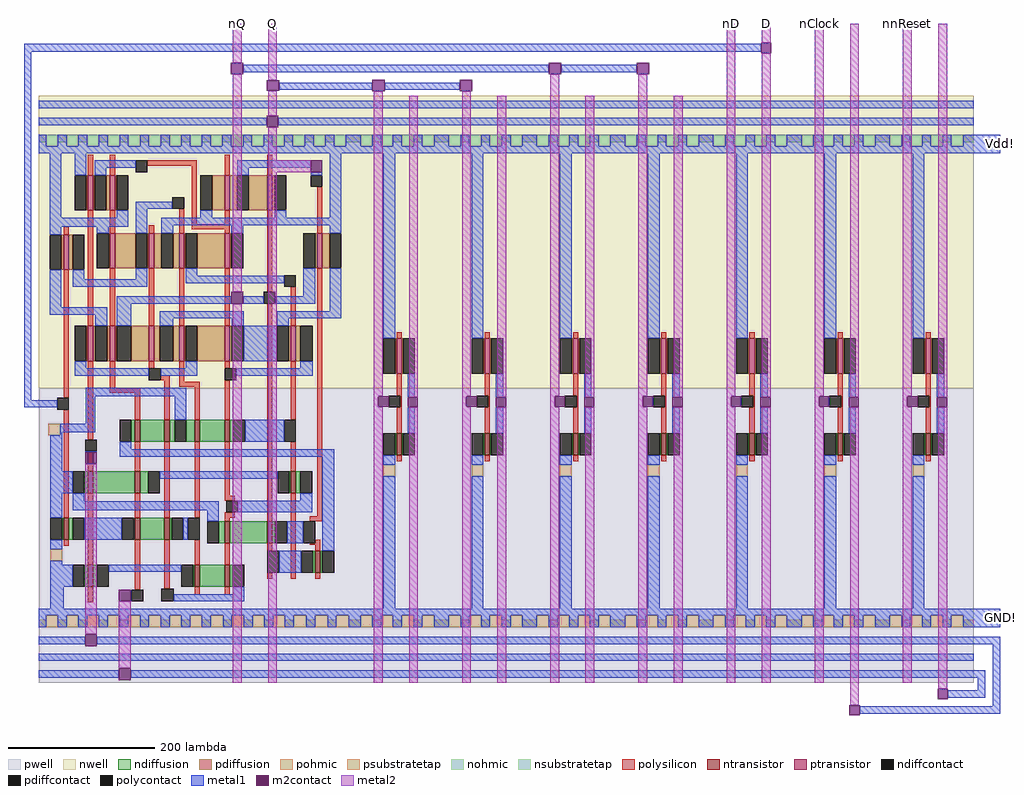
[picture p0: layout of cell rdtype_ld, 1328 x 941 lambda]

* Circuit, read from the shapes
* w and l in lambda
.subckt rdtype_ld Clock D GND! Q Vdd! nClock nD nQ nReset nnReset
M1 n1 D n2 VSUBS nfet w=30 l=7
M2 n3 Clock GND! VSUBS nfet w=30 l=7
M3 n4 Clock n2 VSUBS nfet w=30 l=7
M4 n5 nReset n1 VSUBS nfet w=30 l=7
M5 n6 nReset n4 VSUBS nfet w=30 l=7
M6 n7 nReset n8 VSUBS nfet w=30 l=7
M7 n9 n10 n5 VSUBS nfet w=30 l=7
M8 n2 n10 n7 VSUBS nfet w=30 l=7
M9 n11 n9 n3 VSUBS nfet w=30 l=7
M10 n12 n9 n2 VSUBS nfet w=30 l=7
M11 n10 n13 n11 VSUBS nfet w=30 l=7
M12 n14 n13 n2 VSUBS nfet w=30 l=7
M13 n15 n13 n12 VSUBS nfet w=30 l=7
M14 Q nQ n14 VSUBS nfet w=30 l=7
M15 n13 n15 n6 VSUBS nfet w=30 l=7
M16 n8 Q nQ VSUBS nfet w=30 l=7
M17 n16 Q n17 VSUBS nfet w=30 l=7
M18 n18 Q n19 VSUBS nfet w=30 l=7
M19 n20 nQ n21 VSUBS nfet w=30 l=7
M20 n22 nQ n23 VSUBS nfet w=30 l=7
M21 D nD n24 VSUBS nfet w=30 l=7
M22 Clock nClock n25 VSUBS nfet w=30 l=7
M23 nReset nnReset n26 VSUBS nfet w=30 l=7
M24 n9 D Vdd! n27 pfet w=48 l=7
M25 Vdd! Clock n10 n27 pfet w=48 l=7
M26 n13 Clock Vdd! n27 pfet w=48 l=7
M27 nQ nReset Vdd! n27 pfet w=48 l=7
M28 n9 nReset Vdd! n27 pfet w=48 l=7
M29 Vdd! nReset n13 n27 pfet w=48 l=7
M30 Vdd! n10 nQ n27 pfet w=48 l=7
M31 Vdd! n10 n9 n27 pfet w=48 l=7
M32 n10 n9 Vdd! n27 pfet w=48 l=7
M33 n15 n9 Vdd! n27 pfet w=48 l=7
M34 Vdd! n13 n10 n27 pfet w=48 l=7
M35 Vdd! n13 n15 n27 pfet w=48 l=7
M36 Q n13 Vdd! n27 pfet w=48 l=7
M37 Vdd! nQ Q n27 pfet w=48 l=7
M38 n13 n15 Vdd! n27 pfet w=48 l=7
M39 Vdd! Q nQ n27 pfet w=48 l=7
M40 n16 Q Vdd! n27 pfet w=48 l=7
M41 n18 Q Vdd! n27 pfet w=48 l=7
M42 n20 nQ Vdd! n27 pfet w=48 l=7
M43 n22 nQ Vdd! n27 pfet w=48 l=7
M44 D nD Vdd! n27 pfet w=48 l=7
M45 Clock nClock Vdd! n27 pfet w=48 l=7
M46 nReset nnReset Vdd! n27 pfet w=48 l=7
.ends

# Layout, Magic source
magic
tech c035u
<< nwell >>
rect 20 445 1292 843
<< pwell >>
rect 20 44 1292 445
<< polysilicon >>
rect 87 735 94 763
rect 117 735 124 763
rect 168 748 235 755
rect 54 654 61 665
rect 54 432 61 606
rect 87 530 94 687
rect 117 656 124 687
rect 170 656 177 667
rect 211 656 218 689
rect 228 668 235 748
rect 273 735 280 763
rect 331 735 338 763
rect 273 668 280 687
rect 228 661 280 668
rect 273 656 280 661
rect 117 530 124 608
rect 170 530 177 608
rect 211 530 218 608
rect 273 530 280 608
rect 331 576 338 687
rect 399 656 406 719
rect 54 269 61 416
rect 87 375 94 482
rect 117 446 124 482
rect 170 472 177 482
rect 186 456 198 463
rect 117 439 158 446
rect 151 402 158 439
rect 191 402 198 456
rect 211 454 218 482
rect 273 472 280 482
rect 211 447 239 454
rect 232 402 239 447
rect 273 402 280 456
rect 87 332 94 359
rect 151 332 158 372
rect 54 231 61 239
rect 87 205 94 302
rect 151 269 158 302
rect 191 269 198 372
rect 232 269 239 372
rect 273 299 280 372
rect 273 292 287 299
rect 273 269 287 276
rect 273 264 280 269
rect 331 264 338 560
rect 363 530 370 583
rect 363 402 370 482
rect 363 332 370 372
rect 87 154 94 175
rect 151 171 158 239
rect 191 172 198 239
rect 232 205 239 239
rect 273 205 280 234
rect 331 224 338 234
rect 331 186 338 194
rect 363 186 370 302
rect 399 271 406 608
rect 507 513 514 521
rect 627 513 634 521
rect 747 513 754 521
rect 867 513 874 521
rect 987 513 994 521
rect 1107 513 1114 521
rect 1227 513 1234 521
rect 507 435 514 465
rect 627 435 634 465
rect 747 435 754 465
rect 867 435 874 465
rect 987 435 994 465
rect 1107 435 1114 465
rect 1227 435 1234 465
rect 512 419 514 435
rect 632 419 634 435
rect 752 419 754 435
rect 872 419 874 435
rect 992 419 994 435
rect 1112 419 1114 435
rect 1232 419 1234 435
rect 507 384 514 419
rect 627 384 634 419
rect 747 384 754 419
rect 867 384 874 419
rect 987 384 994 419
rect 1107 384 1114 419
rect 1227 384 1234 419
rect 507 346 514 354
rect 627 346 634 354
rect 747 346 754 354
rect 867 346 874 354
rect 987 346 994 354
rect 1107 346 1114 354
rect 1227 346 1234 354
rect 389 264 406 271
rect 396 234 403 239
rect 389 232 403 234
rect 396 224 403 232
rect 396 186 403 194
rect 232 164 239 175
rect 273 164 280 175
<< ndiffusion >>
rect 146 372 151 402
rect 158 372 191 402
rect 198 372 205 402
rect 221 372 232 402
rect 239 372 273 402
rect 280 372 285 402
rect 82 302 87 332
rect 94 302 151 332
rect 158 302 169 332
rect 52 239 54 269
rect 61 239 66 269
rect 149 239 151 269
rect 158 239 191 269
rect 198 239 201 269
rect 361 302 363 332
rect 370 302 376 332
rect 82 175 87 205
rect 94 175 99 205
rect 265 234 273 264
rect 280 234 331 264
rect 338 234 342 264
rect 230 175 232 205
rect 239 175 273 205
rect 280 175 284 205
rect 505 354 507 384
rect 514 354 516 384
rect 625 354 627 384
rect 634 354 636 384
rect 745 354 747 384
rect 754 354 756 384
rect 865 354 867 384
rect 874 354 876 384
rect 985 354 987 384
rect 994 354 996 384
rect 1105 354 1107 384
rect 1114 354 1116 384
rect 1225 354 1227 384
rect 1234 354 1236 384
rect 393 194 396 224
rect 403 194 406 224
<< pdiffusion >>
rect 85 687 87 735
rect 94 687 96 735
rect 112 687 117 735
rect 124 687 126 735
rect 51 606 54 654
rect 61 606 66 654
rect 256 687 273 735
rect 280 687 290 735
rect 306 687 331 735
rect 338 687 341 735
rect 115 608 117 656
rect 124 608 152 656
rect 168 608 170 656
rect 177 608 187 656
rect 203 608 211 656
rect 218 608 220 656
rect 236 608 273 656
rect 280 608 282 656
rect 396 608 399 656
rect 406 608 416 656
rect 85 482 87 530
rect 94 482 97 530
rect 113 482 117 530
rect 124 482 126 530
rect 146 482 170 530
rect 177 482 185 530
rect 203 482 211 530
rect 218 482 220 530
rect 236 482 273 530
rect 280 482 283 530
rect 360 482 363 530
rect 370 482 376 530
rect 505 465 507 513
rect 514 465 516 513
rect 625 465 627 513
rect 634 465 636 513
rect 745 465 747 513
rect 754 465 756 513
rect 865 465 867 513
rect 874 465 876 513
rect 985 465 987 513
rect 994 465 996 513
rect 1105 465 1107 513
rect 1114 465 1116 513
rect 1225 465 1227 513
rect 1234 465 1236 513
<< pohmic >>
rect 20 120 30 130
rect 46 120 58 130
rect 74 120 86 130
rect 102 120 114 130
rect 130 120 142 130
rect 158 120 170 130
rect 186 120 198 130
rect 214 120 226 130
rect 242 120 254 130
rect 271 120 283 130
rect 299 120 311 130
rect 327 120 339 130
rect 355 120 367 130
rect 384 120 396 130
rect 413 120 425 130
rect 442 120 458 130
rect 474 120 486 130
rect 502 120 514 130
rect 530 120 542 130
rect 558 120 578 130
rect 594 120 606 130
rect 622 120 634 130
rect 650 120 662 130
rect 678 120 698 130
rect 714 120 726 130
rect 742 120 754 130
rect 770 120 782 130
rect 798 120 818 130
rect 834 120 846 130
rect 862 120 874 130
rect 890 120 902 130
rect 918 120 938 130
rect 954 120 966 130
rect 982 120 994 130
rect 1010 120 1022 130
rect 1038 120 1058 130
rect 1074 120 1086 130
rect 1102 120 1114 130
rect 1130 120 1142 130
rect 1158 120 1178 130
rect 1194 120 1206 130
rect 1222 120 1234 130
rect 1250 120 1262 130
rect 1278 120 1292 130
<< nohmic >>
rect 20 780 30 790
rect 46 780 58 790
rect 74 780 86 790
rect 102 780 114 790
rect 130 780 142 790
rect 158 780 170 790
rect 186 780 198 790
rect 214 780 226 790
rect 242 780 254 790
rect 270 780 282 790
rect 298 780 310 790
rect 326 780 338 790
rect 354 780 366 790
rect 382 780 394 790
rect 410 780 422 790
rect 438 780 458 790
rect 474 780 486 790
rect 502 780 514 790
rect 530 780 542 790
rect 558 780 578 790
rect 594 780 606 790
rect 622 780 634 790
rect 650 780 662 790
rect 678 780 698 790
rect 714 780 726 790
rect 742 780 754 790
rect 770 780 782 790
rect 798 780 818 790
rect 834 780 846 790
rect 862 780 874 790
rect 890 780 902 790
rect 918 780 938 790
rect 954 780 966 790
rect 982 780 994 790
rect 1010 780 1022 790
rect 1038 780 1058 790
rect 1074 780 1086 790
rect 1102 780 1114 790
rect 1130 780 1142 790
rect 1158 780 1178 790
rect 1194 780 1206 790
rect 1222 780 1234 790
rect 1250 780 1262 790
rect 1278 780 1292 790
<< ntransistor >>
rect 151 372 158 402
rect 191 372 198 402
rect 232 372 239 402
rect 273 372 280 402
rect 87 302 94 332
rect 151 302 158 332
rect 54 239 61 269
rect 151 239 158 269
rect 191 239 198 269
rect 363 302 370 332
rect 87 175 94 205
rect 273 234 280 264
rect 331 234 338 264
rect 232 175 239 205
rect 273 175 280 205
rect 507 354 514 384
rect 627 354 634 384
rect 747 354 754 384
rect 867 354 874 384
rect 987 354 994 384
rect 1107 354 1114 384
rect 1227 354 1234 384
rect 396 194 403 224
<< ptransistor >>
rect 87 687 94 735
rect 117 687 124 735
rect 54 606 61 654
rect 273 687 280 735
rect 331 687 338 735
rect 117 608 124 656
rect 170 608 177 656
rect 211 608 218 656
rect 273 608 280 656
rect 399 608 406 656
rect 87 482 94 530
rect 117 482 124 530
rect 170 482 177 530
rect 211 482 218 530
rect 273 482 280 530
rect 363 482 370 530
rect 507 465 514 513
rect 627 465 634 513
rect 747 465 754 513
rect 867 465 874 513
rect 987 465 994 513
rect 1107 465 1114 513
rect 1227 465 1234 513
<< polycontact >>
rect 152 739 168 755
rect 202 689 218 705
rect 390 719 406 735
rect 354 583 370 599
rect 326 560 342 576
rect 45 416 61 432
rect 170 456 186 472
rect 273 456 289 472
rect 83 359 99 375
rect 275 276 291 292
rect 223 239 239 269
rect 354 372 370 402
rect 331 194 347 224
rect 496 419 512 435
rect 616 419 632 435
rect 736 419 752 435
rect 856 419 872 435
rect 976 419 992 435
rect 1096 419 1112 435
rect 1216 419 1232 435
rect 380 234 396 264
rect 146 155 162 171
rect 187 155 204 172
<< ndiffcontact >>
rect 130 372 146 402
rect 205 372 221 402
rect 285 372 301 402
rect 66 302 82 332
rect 169 302 185 332
rect 36 239 52 269
rect 66 239 82 269
rect 133 239 149 269
rect 201 239 217 269
rect 345 302 361 332
rect 376 302 392 332
rect 66 175 82 205
rect 99 175 115 205
rect 249 234 265 264
rect 342 234 358 264
rect 214 175 230 205
rect 284 175 300 205
rect 489 354 505 384
rect 516 354 532 384
rect 609 354 625 384
rect 636 354 652 384
rect 729 354 745 384
rect 756 354 772 384
rect 849 354 865 384
rect 876 354 892 384
rect 969 354 985 384
rect 996 354 1012 384
rect 1089 354 1105 384
rect 1116 354 1132 384
rect 1209 354 1225 384
rect 1236 354 1252 384
rect 377 194 393 224
rect 406 194 422 224
<< pdiffcontact >>
rect 69 687 85 735
rect 96 687 112 735
rect 126 687 142 735
rect 35 606 51 654
rect 66 606 82 654
rect 240 687 256 735
rect 290 687 306 735
rect 341 687 357 735
rect 99 608 115 656
rect 152 608 168 656
rect 187 608 203 656
rect 220 608 236 656
rect 282 608 298 656
rect 380 608 396 656
rect 416 608 432 656
rect 69 482 85 530
rect 97 482 113 530
rect 126 482 146 530
rect 185 482 203 530
rect 220 482 236 530
rect 283 482 299 530
rect 344 482 360 530
rect 376 482 393 530
rect 489 465 505 513
rect 516 465 532 513
rect 609 465 625 513
rect 636 465 652 513
rect 729 465 745 513
rect 756 465 772 513
rect 849 465 865 513
rect 876 465 892 513
rect 969 465 985 513
rect 996 465 1012 513
rect 1089 465 1105 513
rect 1116 465 1132 513
rect 1209 465 1225 513
rect 1236 465 1252 513
<< psubstratetap >>
rect 33 381 49 397
rect 36 210 52 226
rect 489 325 505 341
rect 609 325 625 341
rect 729 325 745 341
rect 849 325 865 341
rect 969 325 985 341
rect 1089 325 1105 341
rect 1209 325 1225 341
rect 30 120 46 136
rect 58 120 74 136
rect 86 120 102 136
rect 114 120 130 136
rect 142 120 158 136
rect 170 120 186 136
rect 198 120 214 136
rect 226 120 242 136
rect 254 120 271 136
rect 283 120 299 136
rect 311 120 327 136
rect 339 120 355 136
rect 367 120 384 136
rect 396 120 413 136
rect 425 120 442 136
rect 458 120 474 136
rect 486 120 502 136
rect 514 120 530 136
rect 542 120 558 136
rect 578 120 594 136
rect 606 120 622 136
rect 634 120 650 136
rect 662 120 678 136
rect 698 120 714 136
rect 726 120 742 136
rect 754 120 770 136
rect 782 120 798 136
rect 818 120 834 136
rect 846 120 862 136
rect 874 120 890 136
rect 902 120 918 136
rect 938 120 954 136
rect 966 120 982 136
rect 994 120 1010 136
rect 1022 120 1038 136
rect 1058 120 1074 136
rect 1086 120 1102 136
rect 1114 120 1130 136
rect 1142 120 1158 136
rect 1178 120 1194 136
rect 1206 120 1222 136
rect 1234 120 1250 136
rect 1262 120 1278 136
<< nsubstratetap >>
rect 30 774 46 790
rect 58 774 74 790
rect 86 774 102 790
rect 114 774 130 790
rect 142 774 158 790
rect 170 774 186 790
rect 198 774 214 790
rect 226 774 242 790
rect 254 774 270 790
rect 282 774 298 790
rect 310 774 326 790
rect 338 774 354 790
rect 366 774 382 790
rect 394 774 410 790
rect 422 774 438 790
rect 458 774 474 790
rect 486 774 502 790
rect 514 774 530 790
rect 542 774 558 790
rect 578 774 594 790
rect 606 774 622 790
rect 634 774 650 790
rect 662 774 678 790
rect 698 774 714 790
rect 726 774 742 790
rect 754 774 770 790
rect 782 774 798 790
rect 818 774 834 790
rect 846 774 862 790
rect 874 774 890 790
rect 902 774 918 790
rect 938 774 954 790
rect 966 774 982 790
rect 994 774 1010 790
rect 1022 774 1038 790
rect 1058 774 1074 790
rect 1086 774 1102 790
rect 1114 774 1130 790
rect 1142 774 1158 790
rect 1178 774 1194 790
rect 1206 774 1222 790
rect 1234 774 1250 790
rect 1262 774 1278 790
<< metal1 >>
rect 0 903 1003 914
rect 0 429 10 903
rect 298 875 714 885
rect 731 875 834 885
rect 347 851 474 861
rect 491 851 593 861
rect 20 826 1292 836
rect 20 803 330 813
rect 346 803 1292 813
rect 20 774 30 790
rect 46 774 58 790
rect 74 774 86 790
rect 102 774 114 790
rect 130 774 142 790
rect 158 774 170 790
rect 186 774 198 790
rect 214 774 226 790
rect 242 774 254 790
rect 270 774 282 790
rect 298 774 310 790
rect 326 774 338 790
rect 354 774 366 790
rect 382 774 394 790
rect 410 774 422 790
rect 438 774 458 790
rect 474 774 486 790
rect 502 774 514 790
rect 530 774 542 790
rect 558 774 578 790
rect 594 774 606 790
rect 622 774 634 790
rect 650 774 662 790
rect 678 774 698 790
rect 714 774 726 790
rect 742 774 754 790
rect 770 774 782 790
rect 798 774 818 790
rect 834 774 846 790
rect 862 774 874 790
rect 890 774 902 790
rect 918 774 938 790
rect 954 774 966 790
rect 982 774 994 790
rect 1010 774 1022 790
rect 1038 774 1058 790
rect 1074 774 1086 790
rect 1102 774 1114 790
rect 1130 774 1142 790
rect 1158 774 1178 790
rect 1194 774 1206 790
rect 1222 774 1234 790
rect 1250 774 1262 790
rect 1278 774 1328 790
rect 20 765 1328 774
rect 35 678 51 765
rect 69 735 85 765
rect 96 745 152 755
rect 96 735 112 745
rect 290 745 390 755
rect 290 735 306 745
rect 390 735 406 739
rect 35 677 52 678
rect 126 677 142 687
rect 35 665 142 677
rect 152 689 202 699
rect 35 654 51 665
rect 99 656 115 665
rect 35 555 51 606
rect 152 656 168 689
rect 240 677 256 687
rect 341 677 357 687
rect 416 677 432 765
rect 187 667 432 677
rect 187 656 203 667
rect 282 656 298 667
rect 416 656 432 667
rect 66 593 82 606
rect 152 593 168 608
rect 66 583 168 593
rect 220 598 236 608
rect 220 588 354 598
rect 126 560 282 570
rect 298 560 326 570
rect 380 570 396 608
rect 342 560 396 570
rect 35 545 113 555
rect 97 530 113 545
rect 126 530 146 560
rect 416 550 432 608
rect 185 540 299 550
rect 185 530 203 540
rect 283 530 299 540
rect 344 540 432 550
rect 344 530 360 540
rect 299 482 344 530
rect 69 472 85 482
rect 220 472 236 482
rect 376 472 393 482
rect 69 462 170 472
rect 186 462 236 472
rect 289 462 393 472
rect 489 513 505 765
rect 609 513 625 765
rect 729 513 745 765
rect 849 513 865 765
rect 969 513 985 765
rect 1089 513 1105 765
rect 1209 513 1225 765
rect 84 434 221 446
rect 0 419 45 429
rect 84 397 97 434
rect 205 402 221 434
rect 522 433 532 465
rect 642 433 652 465
rect 762 433 772 465
rect 882 433 892 465
rect 1002 433 1012 465
rect 1122 433 1132 465
rect 1242 433 1252 465
rect 49 385 97 397
rect 49 381 52 385
rect 36 332 52 381
rect 83 358 99 359
rect 301 372 354 402
rect 522 384 532 419
rect 642 384 652 419
rect 762 384 772 419
rect 882 384 892 419
rect 1002 384 1012 419
rect 1122 384 1132 419
rect 1242 384 1252 419
rect 130 362 146 372
rect 130 352 422 362
rect 36 302 66 332
rect 185 322 345 332
rect 36 269 52 302
rect 66 291 82 302
rect 376 292 392 302
rect 66 279 265 291
rect 82 239 133 269
rect 217 239 223 269
rect 249 264 265 279
rect 291 276 392 292
rect 36 226 52 239
rect 358 234 380 264
rect 406 224 422 352
rect 36 205 52 210
rect 36 175 66 205
rect 115 195 214 205
rect 347 194 377 224
rect 489 341 505 354
rect 36 145 54 175
rect 145 155 146 171
rect 284 165 300 175
rect 204 155 300 165
rect 489 145 505 325
rect 609 341 625 354
rect 609 145 625 325
rect 729 341 745 354
rect 729 145 745 325
rect 849 341 865 354
rect 849 145 865 325
rect 969 341 985 354
rect 969 145 985 325
rect 1089 341 1105 354
rect 1089 145 1105 325
rect 1209 341 1225 354
rect 1209 145 1225 325
rect 20 136 1328 145
rect 20 120 30 136
rect 46 120 58 136
rect 74 120 86 136
rect 102 120 114 136
rect 130 120 142 136
rect 158 120 170 136
rect 186 120 198 136
rect 214 120 226 136
rect 242 120 254 136
rect 271 120 283 136
rect 299 120 311 136
rect 327 120 339 136
rect 355 120 367 136
rect 384 120 396 136
rect 413 120 425 136
rect 442 120 458 136
rect 474 120 486 136
rect 502 120 514 136
rect 530 120 542 136
rect 558 120 578 136
rect 594 120 606 136
rect 622 120 634 136
rect 650 120 662 136
rect 678 120 698 136
rect 714 120 726 136
rect 742 120 754 136
rect 770 120 782 136
rect 798 120 818 136
rect 834 120 846 136
rect 862 120 874 136
rect 890 120 902 136
rect 918 120 938 136
rect 954 120 966 136
rect 982 120 994 136
rect 1010 120 1022 136
rect 1038 120 1058 136
rect 1074 120 1086 136
rect 1102 120 1114 136
rect 1130 120 1142 136
rect 1158 120 1178 136
rect 1194 120 1206 136
rect 1222 120 1234 136
rect 1250 120 1262 136
rect 1278 120 1328 136
rect 20 97 83 107
rect 99 97 1328 107
rect 20 74 1292 84
rect 20 51 129 61
rect 145 51 1308 61
rect 1298 34 1308 51
rect 1257 24 1308 34
rect 1318 12 1328 97
rect 1137 2 1328 12
<< m2contact >>
rect 1003 901 1017 915
rect 281 872 298 888
rect 714 872 731 888
rect 834 872 851 888
rect 330 850 347 864
rect 474 849 491 865
rect 593 849 610 865
rect 330 800 346 816
rect 390 739 406 755
rect 282 560 298 576
rect 482 420 496 434
rect 522 419 536 433
rect 602 420 616 434
rect 642 419 656 433
rect 722 420 736 434
rect 762 419 776 433
rect 842 420 856 434
rect 882 419 896 433
rect 962 420 976 434
rect 1002 419 1016 433
rect 1082 420 1096 434
rect 1122 419 1136 433
rect 1202 420 1216 434
rect 1242 419 1256 433
rect 83 342 99 358
rect 129 155 145 171
rect 83 94 99 110
rect 129 48 145 64
rect 1243 22 1257 36
rect 1123 0 1137 14
<< metal2 >>
rect 284 888 296 941
rect 284 576 296 872
rect 332 864 344 941
rect 332 816 344 850
rect 332 755 344 800
rect 332 739 390 755
rect 83 110 99 342
rect 129 64 145 155
rect 284 44 296 560
rect 332 44 344 739
rect 476 434 488 849
rect 476 420 482 434
rect 524 433 536 843
rect 476 44 488 420
rect 524 44 536 419
rect 596 434 608 849
rect 596 420 602 434
rect 644 433 656 843
rect 596 44 608 420
rect 644 44 656 419
rect 716 434 728 872
rect 716 420 722 434
rect 764 433 776 843
rect 716 44 728 420
rect 764 44 776 419
rect 836 434 848 872
rect 836 420 842 434
rect 884 433 896 843
rect 836 44 848 420
rect 884 44 896 419
rect 956 434 968 941
rect 1004 915 1016 941
rect 956 420 962 434
rect 1004 433 1016 901
rect 956 44 968 420
rect 1004 44 1016 419
rect 1076 434 1088 941
rect 1076 420 1082 434
rect 1124 433 1136 941
rect 1076 44 1088 420
rect 1124 14 1136 419
rect 1196 434 1208 941
rect 1196 420 1202 434
rect 1244 433 1256 941
rect 1196 44 1208 420
rect 1244 36 1256 419
<< labels >>
rlabel metal2 956 941 968 941 5 nD
rlabel metal2 284 941 296 941 5 nQ
rlabel metal2 332 941 344 941 5 Q
rlabel metal2 1196 941 1208 941 5 nnReset
rlabel metal2 1076 941 1088 941 5 nClock
rlabel metal1 1328 765 1328 790 7 Vdd!
rlabel metal1 1328 120 1328 145 7 GND!
rlabel metal2 1124 941 1136 941 1 Clock
rlabel metal2 1004 941 1016 941 5 D
rlabel metal2 1244 941 1256 941 5 nReset
<< end >>
